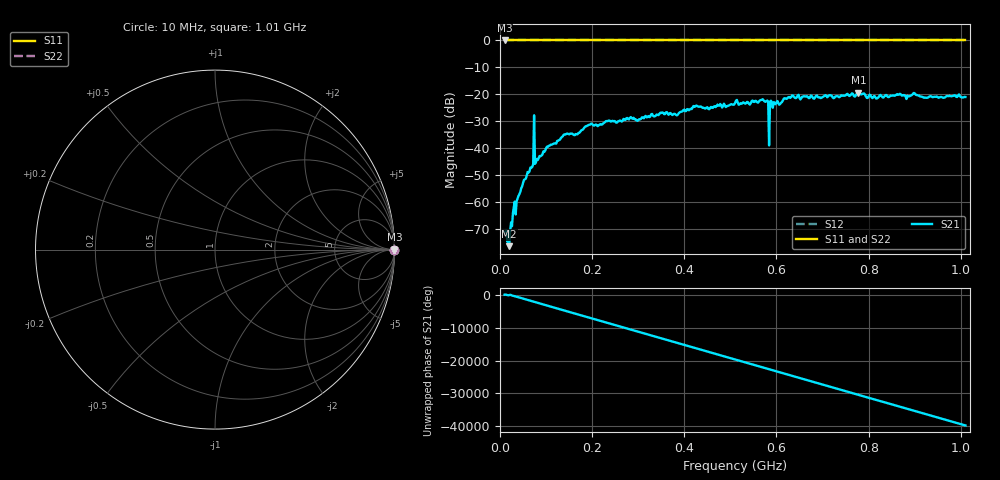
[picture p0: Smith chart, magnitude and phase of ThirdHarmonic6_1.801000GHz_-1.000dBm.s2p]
! 8/16/2025 9:48:17 PM
! C:\ANRITSUVNA\TEMP\TEMP.S2P
! CHANNEL.1
! TR.MEASUREMENT
! RAW.DATA
! RF.CORRECTION.OFF
! AVERAGING.OFF
! IF.BANDWIDTH: 5KHZ
! SWEEPTYPE:  FREQ.SWEEP(Linear)
! Reference Plane Port Info
! PORT:  PORT1  PORT2
! DISTANCE:  0  m  0  m
! TIME:  0  s  0  s
! PHASE.OFFSET:  0  deg.  0  deg.
! LOSS:  0  dB  0  dB
! REF.LOSS:  0  dB  0  dB
! REF.FREQ:  0  Hz  0  Hz
! Power Info
! POWER:  -20  dBm  -20  dBm
! EFF.POWER:  -20  dBm  -20  dBm
! SOURCE.ATTEN:  0  dB  0  dB
! TEST.ATTEN:  0  dB  0  dB
# GHZ S RI R 50.0
! FREQ.GHZ  S11RE  S11IM  S21RE  S21IM  S12RE  S12IM  S22RE  S22IM
!; PortSelection: Port_12
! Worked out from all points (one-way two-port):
!   501 points, 10 MHz to 1.01 GHz, reference 50 ohm
!   highest |S21| = -19.39 dB at 778 MHz (marker M1); lowest = -76.4 dB at 20 MHz (marker M2)
!   lowest |S11| = 0.0 dB at 10 MHz (marker M3)
!   |S11| at or under -10 dB: nowhere
!   |S22| runs from 0.0 to 0.0 dB; largest |S21 - S12| = 1.1
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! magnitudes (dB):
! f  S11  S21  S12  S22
! 10 MHz  0.0  -71.3  0.0  0.0
! 20 MHz  0.0  -76.4  0.0  0.0
! 32 MHz  0.0  -59.8  0.0  0.0
! 50 MHz  0.0  -52.9  0.0  0.0
! 68 MHz  0.0  -47.2  0.0  0.0
! 70 MHz  0.0  -47.0  0.0  0.0
! 78 MHz  0.0  -45.2  0.0  0.0
! 80 MHz  0.0  -44.0  0.0  0.0
! 140 MHz  0.0  -34.9  0.0  0.0
! 178 MHz  0.0  -33.2  0.0  0.0
! 196 MHz  0.0  -31.2  0.0  0.0
! 344 MHz  0.0  -27.7  0.0  0.0
! 510 MHz  0.0  -23.2  0.0  0.0
! 570 MHz  0.0  -21.8  0.0  0.0
! 578 MHz  0.0  -22.6  0.0  0.0
! 580 MHz  0.0  -22.3  0.0  0.0
! 588 MHz  0.0  -22.4  0.0  0.0
! 590 MHz  0.0  -23.1  0.0  0.0
! 678 MHz  0.0  -21.0  0.0  0.0
! 778 MHz  0.0  -19.4  0.0  0.0
! 844 MHz  0.0  -21.0  0.0  0.0
! 1.01 GHz  0.0  -21.0  0.0  0.0
